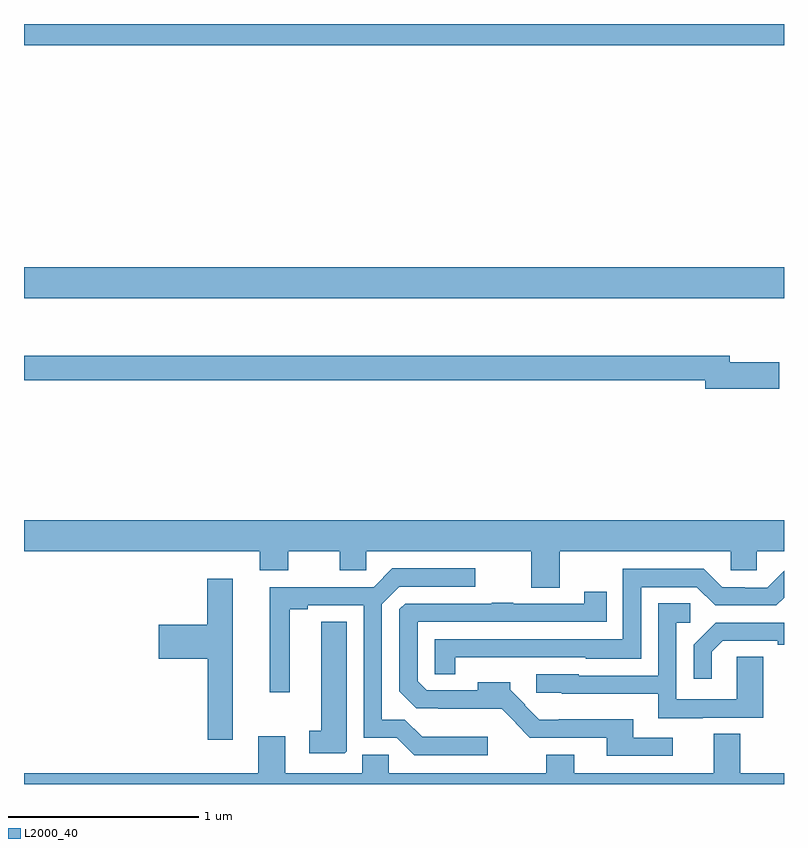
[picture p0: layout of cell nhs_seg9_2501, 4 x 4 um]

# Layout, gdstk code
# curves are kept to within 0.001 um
import gdstk
lib = gdstk.Library(unit=1e-6, precision=1e-09)
def R(c, l, rs):  # rectangles x0, y0, x1, y1
    for r in rs: c.add(gdstk.rectangle(r[:2], r[2:], *l))
def P(c, l, *ps):  # polygons
    for p in ps: c.add(gdstk.Polygon(p, *l))
L2000_40 = (2000, 40)

nhs_seg9_2501 = lib.new_cell('nhs_seg9_2501')
R(nhs_seg9_2501, L2000_40, [(253,1227.056,257,1227.22), (253,1228.388,257,1228.5)])
P(nhs_seg9_2501, L2000_40, [(256.975,1226.721),(256.714,1226.721),(256.714,1226.755),(253,1226.755),(253,1226.626),(256.586,1226.626),(256.586,1226.579),(256.975,1226.579)],
  [(255.819,1225.724),(256.719,1225.724),(256.719,1225.626),(256.857,1225.626),(256.857,1225.724),(257,1225.724),(257,1225.888),(253,1225.888),(253,1225.724),(254.24,1225.724),(254.24,1225.625),(254.392,1225.625),(254.392,1225.724),(254.663,1225.724),(254.663,1225.626),(254.802,1225.626),(254.802,1225.724),(255.671,1225.724),(255.671,1225.534),(255.819,1225.534)],
  [(255.442,1224.748),(255.095,1224.748),(255.004,1224.839),(254.883,1224.839),(254.883,1225.446),(254.976,1225.539),(255.376,1225.539),(255.376,1225.635),(254.939,1225.635),(254.84,1225.536),(254.294,1225.536),(254.294,1224.984),(254.398,1224.984),(254.398,1225.42),(254.494,1225.42),(254.494,1225.44),(254.787,1225.44),(254.787,1224.744),(254.961,1224.744),(255.054,1224.651),(255.442,1224.651)],
  [(255.271,1225.166),(255.957,1225.167),(255.957,1225.16),(256.248,1225.16),(256.248,1225.536),(256.542,1225.536),(256.638,1225.44),(256.959,1225.44),(257,1225.481),(257,1225.622),(256.911,1225.533),(256.794,1225.533),(256.794,1225.536),(256.674,1225.536),(256.578,1225.632),(256.152,1225.632),(256.152,1225.263),(255.162,1225.263),(255.162,1225.078),(255.271,1225.078)],
  [(254.098,1225.579),(253.964,1225.579),(253.964,1225.338),(253.71,1225.338),(253.71,1225.16),(253.967,1225.16),(253.967,1224.732),(254.098,1224.732)],
  [(256.414,1224.744),(256.207,1224.744),(256.207,1224.841),(255.814,1224.841),(255.814,1224.839),(255.713,1224.839),(255.636,1224.915),(255.639,1224.918),(255.56,1224.997),(255.56,1225.036),(255.389,1225.036),(255.389,1224.993),(255.12,1224.993),(255.072,1225.041),(255.072,1225.353),(256.067,1225.353),(256.067,1225.513),(255.949,1225.513),(255.949,1225.449),(255.575,1225.449),(255.575,1225.454),(255.463,1225.454),(255.463,1225.449),(255.006,1225.449),(254.976,1225.419),(254.976,1224.987),(255.065,1224.898),(255.181,1224.898),(255.181,1224.896),(255.515,1224.897),(255.589,1224.823),(255.587,1224.821),(255.663,1224.744),(256.067,1224.744),(256.067,1224.648),(256.414,1224.648)],
  [(256.573,1224.849),(256.891,1224.849),(256.891,1225.169),(256.752,1225.169),(256.752,1224.945),(256.434,1224.945),(256.434,1225.35),(256.507,1225.35),(256.507,1225.451),(256.338,1225.451),(256.338,1225.071),(255.921,1225.071),(255.921,1225.077),(255.696,1225.077),(255.696,1224.981),(255.831,1224.981),(255.831,1224.974),(256.337,1224.974),(256.337,1224.845),(256.573,1224.845)],
  [(254.698,1224.673),(254.698,1225.355),(254.564,1225.355),(254.564,1224.779),(254.502,1224.779),(254.502,1224.663),(254.688,1224.663)],
  [(256.621,1225.197),(256.678,1225.254),(256.967,1225.254),(256.967,1225.234),(257,1225.234),(257,1225.35),(256.64,1225.35),(256.524,1225.234),(256.524,1225.053),(256.621,1225.053)],
  [(255.895,1224.655),(255.748,1224.655),(255.748,1224.556),(254.919,1224.556),(254.919,1224.654),(254.78,1224.654),(254.78,1224.556),(254.374,1224.556),(254.374,1224.751),(254.234,1224.751),(254.234,1224.556),(253,1224.556),(253,1224.5),(257,1224.5),(257,1224.556),(256.771,1224.556),(256.771,1224.764),(256.631,1224.764),(256.631,1224.556),(255.895,1224.556)])

lib.write_gds('nhs_seg9_2501.gds')
